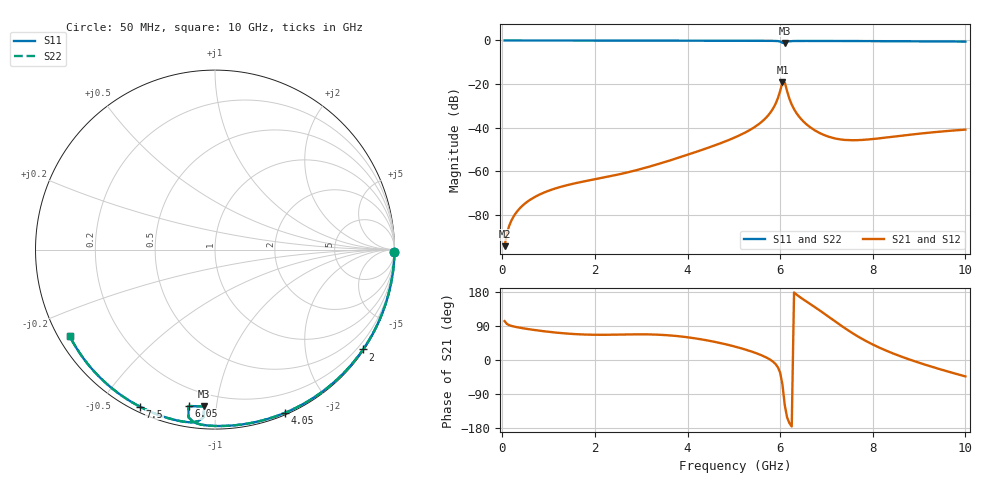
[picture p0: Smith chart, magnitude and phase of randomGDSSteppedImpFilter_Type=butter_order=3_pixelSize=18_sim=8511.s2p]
! freq	dB(S11)	phase(S11)	dB(S12)	phase(S12)
!  dB(S21)	phase(S21)	dB(S22)	phase(S22)
!S-par simulation data
#  GHz  S  DB  R 50
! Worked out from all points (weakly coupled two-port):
!   200 points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, 50 MHz to 10 GHz, reference 50 ohm
!   highest |S21| = -19.20 dB at 6.05 GHz (marker M1); lowest = -94.3 dB at 50 MHz (marker M2)
!   lowest |S11| = -1.1 dB at 6.1 GHz (marker M3), VSWR 15.13, Z = 6.16 - j46.3 ohm
!   |S11| at or under -10 dB: nowhere
!   |S22| runs from -1.2 to 0.0 dB; largest |S21 - S12| = 0
!   S11 on the Smith chart (normalised r, x): 50 MHz: open; 2 GHz: 0.03, -3.27; 4.05 GHz: 0.02, -1.52; 6.05 GHz: 0.11, -0.84; 7.5 GHz: 0.02, -0.63; 10 GHz: 0.03, -0.28
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0.05  -0.00 -0.9  -94.33 102.6  -94.33 102.6  -0.00 -0.9
0.25  -0.00 -4.3  -80.52 88.3  -80.52 88.3  -0.00 -4.3
0.55  -0.01 -9.5  -73.79 81.7  -73.79 81.7  -0.01 -9.5
0.9  -0.02 -15.5  -69.75 75.9  -69.75 75.9  -0.02 -15.5
1.75  -0.04 -29.8  -64.68 67.3  -64.68 67.3  -0.04 -29.8
2  -0.04 -34.0  -63.64 66.6  -63.64 66.6  -0.04 -34.0
3.4  -0.08 -56.7  -56.45 66.6  -56.45 66.6  -0.08 -56.7
4.05  -0.09 -66.8  -52.06 59.1  -52.06 59.1  -0.09 -66.8
5.05  -0.13 -82.0  -44.21 34.5  -44.21 34.5  -0.13 -82.0
5.45  -0.15 -88.0  -39.69 19.4  -39.69 19.4  -0.15 -88.0
5.75  -0.17 -92.9  -34.13 3.4  -34.13 3.4  -0.17 -92.9
5.9  -0.23 -95.9  -29.10 -10.6  -29.10 -10.6  -0.23 -95.9
6.05  -1.07 -99.6  -19.20 -65.3  -19.20 -65.3  -1.07 -99.6
6.1  -1.15 -93.9  -19.22 -119.3  -19.22 -119.3  -1.15 -93.9
6.2  -0.36 -95.5  -26.75 -166.6  -26.75 -166.6  -0.36 -95.5
6.3  -0.25 -97.9  -31.51 178.2  -31.51 178.2  -0.25 -97.9
6.45  -0.22 -100.6  -35.97 164.0  -35.97 164.0  -0.22 -100.6
6.7  -0.22 -104.4  -40.55 143.6  -40.55 143.6  -0.22 -104.4
7.05  -0.24 -109.4  -44.16 113.9  -44.16 113.9  -0.24 -109.4
7.5  -0.27 -115.6  -45.73 75.6  -45.73 75.6  -0.27 -115.6
8.35  -0.33 -127.1  -44.36 21.6  -44.36 21.6  -0.33 -127.1
10  -0.52 -149.1  -40.88 -43.3  -40.88 -43.3  -0.52 -149.1
